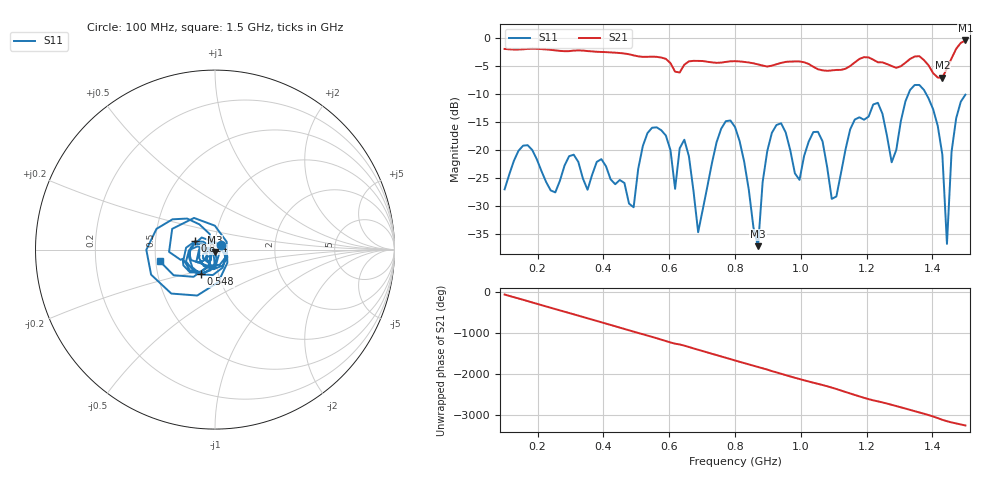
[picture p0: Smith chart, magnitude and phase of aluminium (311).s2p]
! NanoVNA-App
! Date: 2025-09-25 14:57:42
! Start: 100MHz Stop: 1,5GHz Points: 101
! S-Parameter data: F S11 S21 S12 S22
# Hz S RI R 50
!  Frequency  S11_Real  S11_Imag  S21_Real  S21_Imag  S12_Real  S12_Imag  S22_Real  S22_Imag
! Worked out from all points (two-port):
!   101 points, 100 MHz to 1.5 GHz, reference 50 ohm
!   highest |S21| = -0.41 dB at 1.5 GHz (marker M1); lowest = -7.0 dB at 1.43 GHz (marker M2)
!   |S21| within 3 dB of the highest: start of sweep to 570.7 MHz; 1.46 GHz to end of sweep (the widest 2 of 4)
!   lowest |S11| = -37.1 dB at 870 MHz (marker M3), VSWR 1.03, Z = 49.9 - j1.39 ohm
!   |S11| at or under -10 dB: start of sweep to 1.327 GHz; 1.381 GHz to end of sweep
!   S12 and S22 are empty: the file has one direction only
!   S11 on the Smith chart (normalised r, x): 100 MHz: 1.07, +0.06; 548 MHz: 0.82, -0.23; 814 MHz: 0.80, +0.07; 1.5 GHz: 0.53, -0.08
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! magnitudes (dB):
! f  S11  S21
! 100 MHz  -27.0  -1.9
! 338 MHz  -25.0  -2.2
! 492 MHz  -30.2  -3.1
! 548 MHz  -16.0  -3.3
! 576 MHz  -16.4  -3.5
! 618 MHz  -26.9  -6.0
! 646 MHz  -18.1  -4.7
! 688 MHz  -34.6  -4.1
! 800 MHz  -15.8  -4.1
! 814 MHz  -18.4  -4.1
! 870 MHz  -37.1  -4.7
! 912 MHz  -16.9  -4.9
! 996 MHz  -25.3  -4.2
! 1.038 GHz  -16.7  -5.1
! 1.094 GHz  -28.7  -5.8
! 1.22 GHz  -11.8  -3.8
! 1.276 GHz  -22.1  -5.0
! 1.346 GHz  -8.3  -3.3
! 1.43 GHz  -20.8  -7.0
! 1.444 GHz  -36.7  -5.4
! 1.458 GHz  -20.3  -3.6
! 1.5 GHz  -10.1  -0.4
